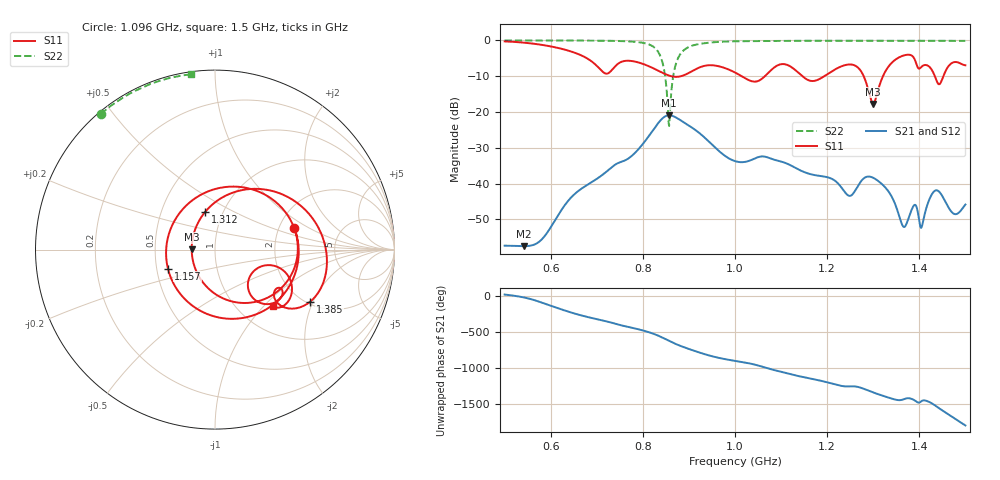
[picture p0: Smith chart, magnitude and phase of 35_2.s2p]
! TOUCHSTONE file generated by CST MICROWAVE STUDIO
! Date and time: Thu Feb 18 07:37:02 2021
! Project name: Scenario_1_Planar_Body_Tissue_Out_of_Line.cst
! Parameters = {L_HA=400; Ltissue=1000; MT=2.54; Rad_Dielectric=30; Rad_Lower=7.3; Rad_Upper=30; Wtissue=1000; a_HA=580; a_WG=246; b_HA=500; b_WG=121; c_HA=0; c_WG=187; d_feed=85; dx1=346; dy1=242.2; h_feed=15; h_lower=18; h_upper=40; hfat=3; hgap=25; hmuscle=50; hskin=1.5}
! Header version: 2018
! Port assignment regex: !\s*Touchstone port\s*([0-9]+)\s*=\s*(CST MWS port|CST DS port)\s*([0-9]+|Zmin|Zmax)\s*\(\"(.*)\"\)(\s*mode\s*([0-9]+))?.*
! Touchstone port assignment:
! Touchstone port 1 = CST MWS port 1 ("")
! Touchstone port 2 = CST MWS port 2 ("")
# GHz S DB R 50
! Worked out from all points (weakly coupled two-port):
!   1003 points, 500 MHz to 1.5 GHz, reference 50 ohm
!   highest |S21| = -20.92 dB at 857 MHz (marker M1); lowest = -57.5 dB at 541 MHz (marker M2)
!   lowest |S11| = -17.7 dB at 1.3 GHz (marker M3), VSWR 1.30, Z = 38.5 + j0.177 ohm
!   |S11| at or under -10 dB: 1.014 GHz to 1.065 GHz (50.46 MHz wide, 4.85 % of centre); 1.146 GHz to 1.194 GHz (47.48 MHz wide, 4.06 % of centre); 1.279 GHz to 1.321 GHz (41.86 MHz wide, 3.22 % of centre)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
!   |S22| runs from -23.9 to 0.0 dB; largest |S21 - S12| = 3e-05
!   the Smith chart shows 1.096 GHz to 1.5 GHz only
!   S11 on the Smith chart (normalised r, x): 1.096 GHz: 2.42, +0.74; 1.157 GHz: 0.57, -0.13; 1.312 GHz: 0.82, +0.37; 1.385 GHz: 2.09, -1.91; 1.5 GHz: 1.43, -1.12
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0.5  -0.27 -121.7  -57.38 14.9  -57.38 14.9  -0.01 151.1
0.541  -0.61 -130.5  -57.52 -24.2  -57.48 -24.2  -0.01 148.4
0.667  -4.21 159.3  -41.43 84.0  -41.43 84.0  -0.04 138.4
0.72  -9.28 15.3  -36.79 4.0  -36.80 4.1  -0.09 132.3
0.743  -6.85 -101.0  -34.49 -34.9  -34.50 -35.0  -0.15 128.7
0.773  -5.71 169.5  -32.59 -81.3  -32.59 -81.3  -0.30 122.2
0.834  -8.50 36.3  -23.01 162.1  -23.01 162.1  -3.35 82.0
0.857  -9.83 -22.6  -20.92 91.2  -20.92 91.2  -23.91 -56.2
0.909  -8.43 178.9  -24.59 -40.9  -24.59 -40.9  -1.39 162.2
0.94  -6.97 83.2  -27.87 -103.9  -27.87 -103.9  -0.68 151.4
1  -8.96 -65.5  -33.74 173.8  -33.74 173.8  -0.25 140.1
1.048  -11.43 166.2  -32.73 113.6  -32.73 113.6  -0.18 134.5
1.096  -6.78 15.3  -33.73 28.6  -33.73 28.6  -0.12 130.1
1.125  -7.69 -67.0  -35.21 -18.7  -35.20 -18.7  -0.10 127.6
1.157  -10.97 -158.1  -37.12 -62.6  -37.12 -62.7  -0.09 124.9
1.167  -11.34 172.2  -37.49 -75.6  -37.49 -75.6  -0.09 124.1
1.249  -6.71 3.4  -43.46 179.6  -43.46 179.6  -0.08 117.9
1.3  -17.73 179.0  -38.41 95.4  -38.41 95.4  -0.09 114.1
1.312  -13.23 104.2  -39.41 68.5  -39.41 68.5  -0.08 113.2
1.334  -7.16 49.5  -42.38 22.2  -42.38 22.2  -0.08 111.5
1.385  -4.37 -28.6  -46.84 2.1  -46.84 2.1  -0.09 107.5
1.5  -6.95 -44.1  -45.88 -2.6  -45.88 -2.6  -0.13 97.9
